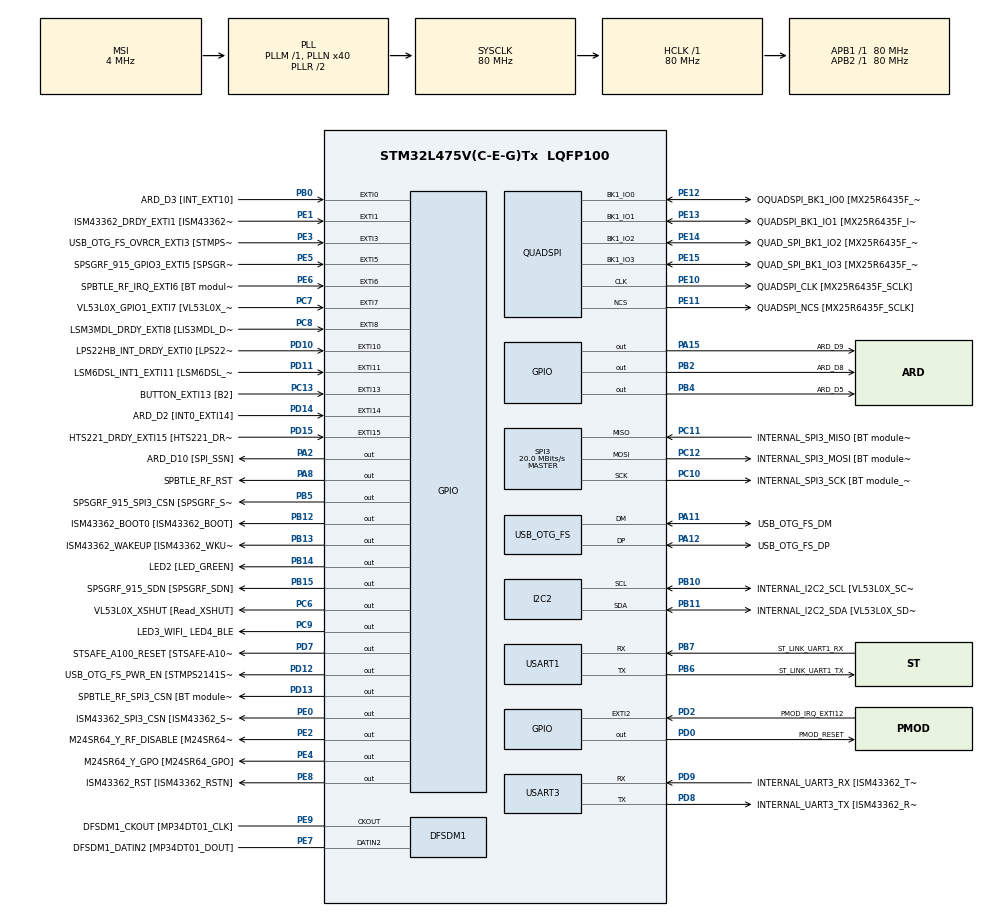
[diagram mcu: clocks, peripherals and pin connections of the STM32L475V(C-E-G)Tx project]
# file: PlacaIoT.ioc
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Mcu.Family=STM32L4
Mcu.Name=STM32L475V(C-E-G)Tx
Mcu.Package=LQFP100
NVIC.EXTI15_10_IRQn=true\:0\:0\:false\:false\:true\:true
NVIC.EXTI9_5_IRQn=true\:0\:0\:false\:false\:true\:true
NVIC.PriorityGroup=NVIC_PRIORITYGROUP_4
PA0.GPIO_Label=ARD_D1 [UART4_TX]
PA0.Signal=UART4_TX
PA1.GPIO_Label=ARD_D0 [UART4_RX]
PA1.Signal=UART4_RX
PA10.GPIO_Label=USB_OTG_FS_ID
PA10.Signal=USB_OTG_FS_ID
PA11.GPIO_Label=USB_OTG_FS_DM
PA11.Mode=Device_Only
PA11.Signal=USB_OTG_FS_DM
PA12.GPIO_Label=USB_OTG_FS_DP
PA12.Mode=Device_Only
PA12.Signal=USB_OTG_FS_DP
PA13\ (JTMS-SWDIO).GPIO_Label=SYS_JTMS_SWDIO
PA13\ (JTMS-SWDIO).Mode=Serial_Wire
PA13\ (JTMS-SWDIO).Signal=SYS_JTMS-SWDIO
PA14\ (JTCK-SWCLK).GPIO_Label=SYS_JTCK_SWCLK
PA14\ (JTCK-SWCLK).Mode=Serial_Wire
PA14\ (JTCK-SWCLK).Signal=SYS_JTCK-SWCLK
PA15\ (JTDI).GPIO_Label=ARD_D9
PA15\ (JTDI).Signal=GPIO_Output
PA2.GPIO_Label=ARD_D10 [SPI_SSN]
PA2.Signal=GPIO_Output
PA3.GPIO_Label=ARD_D4
PA3.Signal=S_TIM2_CH4
PA4.GPIO_Label=ARD_D7
PA4.Signal=ADCx_IN9
PA5.GPIO_Label=ARD_D13 [SPI1_SCK]
PA5.Signal=SPI1_SCK
PA6.GPIO_Label=ARD_D12 [SPI1_MISO]
PA6.Signal=SPI1_MISO
PA7.GPIO_Label=ARD_D11 [SPI1_MOSI]
PA7.Signal=SPI1_MOSI
PA8.GPIO_Label=SPBTLE_RF_RST
PA8.Signal=GPIO_Output
PA9.GPIO_Label=USB_OTG_FS_VBUS [STMPS2141STR_OUT]
PA9.Signal=USB_OTG_FS_VBUS
PB0.GPIO_Label=ARD_D3 [INT_EXT10]
PB0.Signal=GPXTI0
PB1.GPIO_Label=ARD_D6 [ADC1_IN6]
PB1.Signal=ADCx_IN16
PB10.GPIO_Label=INTERNAL_I2C2_SCL [VL53L0X_SCL]
PB10.Mode=I2C
PB10.Signal=I2C2_SCL
PB11.GPIO_Label=INTERNAL_I2C2_SDA [VL53L0X_SDA]
PB11.Mode=I2C
PB11.Signal=I2C2_SDA
PB12.GPIO_Label=ISM43362_BOOT0 [ISM43362_BOOT]
PB12.Signal=GPIO_Output
PB13.GPIO_Label=ISM43362_WAKEUP [ISM43362_WKUP]
PB13.Signal=GPIO_Output
PB14.GPIO_Label=LED2 [LED_GREEN]
PB14.Signal=GPIO_Output
PB15.GPIO_Label=SPSGRF_915_SDN [SPSGRF_SDN]
PB15.Signal=GPIO_Output
PB2.GPIO_Label=ARD_D8
PB2.Signal=GPIO_Output
PB3\ (JTDO-TRACESWO).GPIO_Label=SYS_JTD0_SWO
PB3\ (JTDO-TRACESWO).Signal=SYS_JTDO-SWO
PB4\ (NJTRST).GPIO_Label=ARD_D5
PB4\ (NJTRST).Signal=GPIO_Output
PB5.GPIO_Label=SPSGRF_915_SPI3_CSN [SPSGRF_SPI_CS]
PB5.Signal=GPIO_Output
PB6.GPIO_Label=ST_LINK_UART1_TX
PB6.Mode=Asynchronous
PB6.Signal=USART1_TX
PB7.GPIO_Label=ST_LINK_UART1_RX
PB7.Mode=Asynchronous
PB7.Signal=USART1_RX
PB8.GPIO_Label=ARD_D15 [I2C1_SCL]
PB8.Signal=I2C1_SCL
PB9.GPIO_Label=ARD_D14 [I2C1_SDA]
PB9.Signal=I2C1_SDA
PC0.GPIO_Label=ARD_A5 [ADC]
PC0.Signal=ADCx_IN1
PC1.GPIO_Label=ARD_A4 [ADC]
PC1.Signal=ADCx_IN2
PC10.GPIO_Label=INTERNAL_SPI3_SCK [BT module_SPI_SCLK]
PC10.Mode=Full_Duplex_Master
PC10.Signal=SPI3_SCK
PC11.GPIO_Label=INTERNAL_SPI3_MISO [BT module_SPI_MISO]
PC11.Mode=Full_Duplex_Master
PC11.Signal=SPI3_MISO
PC12.GPIO_Label=INTERNAL_SPI3_MOSI [BT module_SPI_MOSI]
PC12.Mode=Full_Duplex_Master
PC12.Signal=SPI3_MOSI
PC13.GPIO_Label=BUTTON_EXTI13 [B2]
PC13.GPIO_ModeDefaultEXTI=GPIO_MODE_IT_FALLING
PC13.Signal=GPXTI13
PC14-OSC32_IN\ (PC14).Mode=LSE-External-Oscillator
PC14-OSC32_IN\ (PC14).Signal=RCC_OSC32_IN
PC15-OSC32_OUT\ (PC15).Mode=LSE-External-Oscillator
PC15-OSC32_OUT\ (PC15).Signal=RCC_OSC32_OUT
PC2.GPIO_Label=ARD_A3 [ADC]
PC2.Signal=ADCx_IN3
PC3.GPIO_Label=ARD_A2 [ADC]
PC3.Signal=ADCx_IN4
PC4.GPIO_Label=ARD_A1 [ADC]
PC4.Signal=ADCx_IN13
PC5.GPIO_Label=ARD_A0 [ADC]
PC5.Signal=ADCx_IN14
PC6.GPIO_Label=VL53L0X_XSHUT [Read_XSHUT]
PC6.Signal=GPIO_Output
PC7.GPIO_Label=VL53L0X_GPIO1_EXTI7 [VL53L0X_GPIO1]
PC7.Signal=GPXTI7
PC8.GPIO_Label=LSM3MDL_DRDY_EXTI8 [LIS3MDL_DRDY]
PC8.Signal=GPXTI8
PC9.GPIO_Label=LED3_WIFI_ LED4_BLE
PC9.Signal=GPIO_Output
PD0.GPIO_Label=PMOD_RESET
PD0.Signal=GPIO_Output
PD1.GPIO_Label=PMOD_SPI2_SCK
PD1.Signal=SPI2_SCK
PD10.GPIO_Label=LPS22HB_INT_DRDY_EXTI0 [LPS22HB_INT_DRDY] 
PD10.Signal=GPXTI10
PD11.GPIO_Label=LSM6DSL_INT1_EXTI11 [LSM6DSL_INT1]
PD11.Signal=GPXTI11
PD12.GPIO_Label=USB_OTG_FS_PWR_EN [STMPS2141STR_EN]
PD12.Signal=GPIO_Output
PD13.GPIO_Label=SPBTLE_RF_SPI3_CSN [BT module_SPI_CS]
PD13.Signal=GPIO_Output
PD14.GPIO_Label=ARD_D2 [INT0_EXTI14]
PD14.Signal=GPXTI14
PD15.GPIO_Label=HTS221_DRDY_EXTI15 [HTS221_DRDY]
PD15.Signal=GPXTI15
PD2.GPIO_Label=PMOD_IRQ_EXTI12
PD2.Signal=GPXTI2
PD3.GPIO_Label=PMOD_UART2_CTS
PD3.Signal=USART2_CTS
PD4.GPIO_Label=PMOD_UART2_RTS
PD4.Signal=USART2_RTS
PD5.GPIO_Label=PMOD_UART2_TX
PD5.Signal=USART2_TX
PD6.GPIO_Label=PMOD_UART2_RX
PD6.Signal=USART2_RX
PD7.GPIO_Label=STSAFE_A100_RESET [STSAFE-A100_RESET]
PD7.Signal=GPIO_Output
PD8.GPIO_Label=INTERNAL_UART3_TX [ISM43362_RX]
PD8.Mode=Asynchronous
PD8.Signal=USART3_TX
PD9.GPIO_Label=INTERNAL_UART3_RX [ISM43362_TX]
PD9.Mode=Asynchronous
PD9.Signal=USART3_RX
PE0.GPIO_Label=ISM43362_SPI3_CSN [ISM43362_SSN]
PE0.Signal=GPIO_Output
PE1.GPIO_Label=ISM43362_DRDY_EXTI1 [ISM43362_DATARDY]
PE1.Signal=GPXTI1
PE10.GPIO_Label=QUADSPI_CLK [MX25R6435F_SCLK]
PE10.Mode=Single Bank
PE10.Signal=QUADSPI_CLK
PE11.GPIO_Label=QUADSPI_NCS [MX25R6435F_SCLK]
PE11.Mode=Single Bank
PE11.Signal=QUADSPI_NCS
PE12.GPIO_Label=OQUADSPI_BK1_IO0 [MX25R6435F_IO0]
PE12.Mode=Single Bank
PE12.Signal=QUADSPI_BK1_IO0
PE13.GPIO_Label=QUADSPI_BK1_IO1 [MX25R6435F_IO1]
PE13.Mode=Single Bank
PE13.Signal=QUADSPI_BK1_IO1
PE14.GPIO_Label=QUAD_SPI_BK1_IO2 [MX25R6435F_IO2]
PE14.Mode=Single Bank
PE14.Signal=QUADSPI_BK1_IO2
PE15.GPIO_Label=QUAD_SPI_BK1_IO3 [MX25R6435F_IO3]
PE15.Mode=Single Bank
PE15.Signal=QUADSPI_BK1_IO3
PE2.GPIO_Label=M24SR64_Y_RF_DISABLE [M24SR64_RFDIS]
PE2.Signal=GPIO_Output
PE3.GPIO_Label=USB_OTG_FS_OVRCR_EXTI3 [STMPS2141STR_FAULT]
PE3.Signal=GPXTI3
PE4.GPIO_Label=M24SR64_Y_GPO [M24SR64_GPO]
PE4.Signal=GPIO_Output
PE5.GPIO_Label=SPSGRF_915_GPIO3_EXTI5 [SPSGRF_GPIO_3]
PE5.Signal=GPXTI5
PE6.GPIO_Label=SPBTLE_RF_IRQ_EXTI6 [BT module_SPI_IRQ]
PE6.Signal=GPXTI6
PE7.GPIO_Label=DFSDM1_DATIN2 [MP34DT01_DOUT]
PE7.Signal=S_DATAIN2DFSDM1
PE8.GPIO_Label=ISM43362_RST [ISM43362_RSTN]
PE8.Signal=GPIO_Output
PE9.GPIO_Label=DFSDM1_CKOUT [MP34DT01_CLK]
PE9.Signal=S_CKOUTDFSDM1
ProjectManager.HeapSize=0x200
ProjectManager.StackSize=0x400
ProjectManager.TargetToolchain=TrueSTUDIO
RCC.ADCFreq_Value=48000000
RCC.AHBFreq_Value=80000000
RCC.APB1Freq_Value=80000000
RCC.APB1TimFreq_Value=80000000
RCC.APB2Freq_Value=80000000
RCC.APB2TimFreq_Value=80000000
RCC.CortexFreq_Value=80000000
RCC.HCLKFreq_Value=80000000
RCC.HSE_VALUE=8000000
RCC.HSI_VALUE=16000000
RCC.MSI_VALUE=4000000
RCC.PLLN=40
RCC.PLLSAI1N=24
RCC.SYSCLKFreq_VALUE=80000000
RCC.SYSCLKSource=RCC_SYSCLKSOURCE_PLLCLK
RCC.USBFreq_Value=48000000
RCC.VCOOutputFreq_Value=160000000
SH.ADCx_IN1.0=ADC1_IN1
SH.ADCx_IN13.0=ADC1_IN13
SH.ADCx_IN14.0=ADC1_IN14
SH.ADCx_IN16.0=ADC1_IN16
SH.ADCx_IN2.0=ADC1_IN2
SH.ADCx_IN3.0=ADC1_IN3
SH.ADCx_IN4.0=ADC1_IN4
SH.ADCx_IN9.0=ADC1_IN9
SH.S_CKOUTDFSDM1.0=DFSDM1_CKOUT,CKOUT
SH.S_CKOUTDFSDM1.1=DFSDM1_CKOUT,PDM_SPI_Input_from_ch12_and_Internal_Clock
SH.S_DATAIN2DFSDM1.0=DFSDM1_DATIN2,PDM_SPI_Input_from_ch12_and_Internal_Clock
SH.S_TIM2_CH4.0=TIM2_CH4
SPI3.BaudRatePrescaler=SPI_BAUDRATEPRESCALER_4
SPI3.CalculateBaudRate=20.0 MBits/s
SPI3.DataSize=SPI_DATASIZE_8BIT
SPI3.Direction=SPI_DIRECTION_2LINES
SPI3.Mode=SPI_MODE_MASTER
SPI3.VirtualType=VM_MASTER
USART1.VirtualMode-Asynchronous=VM_ASYNC
USART3.VirtualMode-Asynchronous=VM_ASYNC
USART3.WordLength=WORDLENGTH_8B
USB_OTG_FS.VirtualMode=Device_Only
board=B-L475E-IOT01A

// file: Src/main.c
/**
  ******************************************************************************
  * @file           : main.c
  * @brief          : Main program body
  ******************************************************************************
  ** This notice applies to any and all portions of this file
  * that are not between comment pairs USER CODE BEGIN and
  * USER CODE END. Other portions of this file, whether
  * inserted by the user or by software development tools
  * are owned by their respective copyright owners.
  *
  * COPYRIGHT(c) 2018 STMicroelectronics
  *
  * Redistribution and use in source and binary forms, with or without modification,
  * are permitted provided that the following conditions are met:
  *   1. Redistributions of source code must retain the above copyright notice,
  *      this list of conditions and the following disclaimer.
  *   2. Redistributions in binary form must reproduce the above copyright notice,
  *      this list of conditions and the following disclaimer in the documentation
  *      and/or other materials provided with the distribution.
  *   3. Neither the name of STMicroelectronics nor the names of its contributors
  *      may be used to endorse or promote products derived from this software
  *      without specific prior written permission.
  *
  * THIS SOFTWARE IS PROVIDED BY THE COPYRIGHT HOLDERS AND CONTRIBUTORS "AS IS"
  * AND ANY EXPRESS OR IMPLIED WARRANTIES, INCLUDING, BUT NOT LIMITED TO, THE
  * IMPLIED WARRANTIES OF MERCHANTABILITY AND FITNESS FOR A PARTICULAR PURPOSE ARE
  * DISCLAIMED. IN NO EVENT SHALL THE COPYRIGHT HOLDER OR CONTRIBUTORS BE LIABLE
  * FOR ANY DIRECT, INDIRECT, INCIDENTAL, SPECIAL, EXEMPLARY, OR CONSEQUENTIAL
  * DAMAGES (INCLUDING, BUT NOT LIMITED TO, PROCUREMENT OF SUBSTITUTE GOODS OR
  * SERVICES; LOSS OF USE, DATA, OR PROFITS; OR BUSINESS INTERRUPTION) HOWEVER
  * CAUSED AND ON ANY THEORY OF LIABILITY, WHETHER IN CONTRACT, STRICT LIABILITY,
  * OR TORT (INCLUDING NEGLIGENCE OR OTHERWISE) ARISING IN ANY WAY OUT OF THE USE
  * OF THIS SOFTWARE, EVEN IF ADVISED OF THE POSSIBILITY OF SUCH DAMAGE.
  *
  ******************************************************************************
  */
#include "main.h"
#include "stm32l4xx_hal.h"

/* USER CODE BEGIN Includes */
#include "vl53l0x_def.h"
#include "vl53l0x_api.h"
#include "vl53l0x_tof.h"
#include <stm32l475e_iot01.h>
#include <string.h>

/* USER CODE END Includes */

DFSDM_Channel_HandleTypeDef hdfsdm1_channel1;

I2C_HandleTypeDef hi2c2;

QSPI_HandleTypeDef hqspi;

SPI_HandleTypeDef hspi3;

UART_HandleTypeDef huart1;
UART_HandleTypeDef huart3;

PCD_HandleTypeDef hpcd_USB_OTG_FS;

/* USER CODE BEGIN PV */
/* Private variables ---------------------------------------------------------*/
extern I2C_HandleTypeDef hI2cHandler;
VL53L0X_Dev_t Dev =
{
  .I2cHandle = &hI2cHandler,
  .I2cDevAddr = PROXIMITY_I2C_ADDRESS
};
extern UART_HandleTypeDef hDiscoUart;
uint16_t medida;
uint16_t medidaPrv = 150;
uint8_t buff[50];

#ifdef __GNUC__
/* With GCC/RAISONANCE, small msg_info (option LD Linker->Libraries->Small msg_info
   set to 'Yes') calls __io_putchar() */
#define PUTCHAR_PROTOTYPE int __io_putchar(int ch)
#define GETCHAR_PROTOTYPE int __io_getchar(void)
#else
#define PUTCHAR_PROTOTYPE int fputc(int ch, FILE *f)
#define GETCHAR_PROTOTYPE int fgetc(FILE *f)
#endif /* __GNUC__ */

uint16_t medidaTotal;
uint16_t medidaReal;

/* USER CODE END PV */

void SystemClock_Config(void);
static void MX_GPIO_Init(void);
static void MX_DFSDM1_Init(void);
static void MX_I2C2_Init(void);
static void MX_QUADSPI_Init(void);
static void MX_SPI3_Init(void);
static void MX_USART1_UART_Init(void);
static void MX_USART3_UART_Init(void);
static void MX_USB_OTG_FS_PCD_Init(void);

/* USER CODE BEGIN PFP */
/* Private function prototypes -----------------------------------------------*/
static void VL53L0X_PROXIMITY_MspInit(void);
static uint16_t VL53L0X_PROXIMITY_GetDistance(void);
static void VL53L0X_PROXIMITY_Init(void);
extern void     SENSOR_IO_Init(void);
void Proximity_Test(void);

/* USER CODE END PFP */

int main(void)
{

  /* MCU Configuration----------------------------------------------------------*/

  /* Reset of all peripherals, Initializes the Flash interface and the Systick. */
  HAL_Init();

  /* Configure the system clock */
  SystemClock_Config();

  /* Initialize all configured peripherals */
  MX_GPIO_Init();
  MX_DFSDM1_Init();
  MX_I2C2_Init();
  MX_QUADSPI_Init();
  MX_SPI3_Init();
  MX_USART1_UART_Init();
  MX_USART3_UART_Init();
  MX_USB_OTG_FS_PCD_Init();
  /* USER CODE BEGIN 2 */
  VL53L0X_PROXIMITY_Init();
  /* USER CODE END 2 */

  /* Infinite loop */
  while (1)
  {

  /* USER CODE BEGIN 3 */
	  medidaTotal = 0;
	  for (int i = 0; i < 20; ++i)
	  {
		  HAL_Delay(5);
		  medida = VL53L0X_PROXIMITY_GetDistance();
		  if(medida > 2500) medida = medidaPrv;
		  else medidaPrv = medida;

		  medidaTotal += medida;
	  }
	  medidaReal = medidaTotal/20;
	  printf("La medida es %i \n\r",medidaReal);
	  //	  HAL_UART_Transmit(&huart1,pBuff,strlen(buff),50);
	  //	  HAL_Delay(20);

  }
  /* USER CODE END 3 */

}

void SystemClock_Config(void)
{

  RCC_OscInitTypeDef RCC_OscInitStruct;
  RCC_ClkInitTypeDef RCC_ClkInitStruct;
  RCC_PeriphCLKInitTypeDef PeriphClkInit;

    /**Configure LSE Drive Capability
    */
  HAL_PWR_EnableBkUpAccess();

  __HAL_RCC_LSEDRIVE_CONFIG(RCC_LSEDRIVE_LOW);

    /**Initializes the CPU, AHB and APB busses clocks
    */
  RCC_OscInitStruct.OscillatorType = RCC_OSCILLATORTYPE_LSE|RCC_OSCILLATORTYPE_MSI;
  RCC_OscInitStruct.LSEState = RCC_LSE_ON;
  RCC_OscInitStruct.MSIState = RCC_MSI_ON;
  RCC_OscInitStruct.MSICalibrationValue = 0;
  RCC_OscInitStruct.MSIClockRange = RCC_MSIRANGE_6;
  RCC_OscInitStruct.PLL.PLLState = RCC_PLL_ON;
  RCC_OscInitStruct.PLL.PLLSource = RCC_PLLSOURCE_MSI;
  RCC_OscInitStruct.PLL.PLLM = 1;
  RCC_OscInitStruct.PLL.PLLN = 40;
  RCC_OscInitStruct.PLL.PLLP = RCC_PLLP_DIV7;
  RCC_OscInitStruct.PLL.PLLQ = RCC_PLLQ_DIV2;
  RCC_OscInitStruct.PLL.PLLR = RCC_PLLR_DIV2;
  if (HAL_RCC_OscConfig(&RCC_OscInitStruct) != HAL_OK)
  {
    _Error_Handler(__FILE__, __LINE__);
  }

    /**Initializes the CPU, AHB and APB busses clocks
    */
  RCC_ClkInitStruct.ClockType = RCC_CLOCKTYPE_HCLK|RCC_CLOCKTYPE_SYSCLK
                              |RCC_CLOCKTYPE_PCLK1|RCC_CLOCKTYPE_PCLK2;
  RCC_ClkInitStruct.SYSCLKSource = RCC_SYSCLKSOURCE_PLLCLK;
  RCC_ClkInitStruct.AHBCLKDivider = RCC_SYSCLK_DIV1;
  RCC_ClkInitStruct.APB1CLKDivider = RCC_HCLK_DIV1;
  RCC_ClkInitStruct.APB2CLKDivider = RCC_HCLK_DIV1;

  if (HAL_RCC_ClockConfig(&RCC_ClkInitStruct, FLASH_LATENCY_4) != HAL_OK)
  {
    _Error_Handler(__FILE__, __LINE__);
  }

  PeriphClkInit.PeriphClockSelection = RCC_PERIPHCLK_USART1|RCC_PERIPHCLK_USART3
                              |RCC_PERIPHCLK_I2C2|RCC_PERIPHCLK_DFSDM1
                              |RCC_PERIPHCLK_USB;
  PeriphClkInit.Usart1ClockSelection = RCC_USART1CLKSOURCE_PCLK2;
  PeriphClkInit.Usart3ClockSelection = RCC_USART3CLKSOURCE_PCLK1;
  PeriphClkInit.I2c2ClockSelection = RCC_I2C2CLKSOURCE_PCLK1;
  PeriphClkInit.Dfsdm1ClockSelection = RCC_DFSDM1CLKSOURCE_PCLK;
  PeriphClkInit.UsbClockSelection = RCC_USBCLKSOURCE_PLLSAI1;
  PeriphClkInit.PLLSAI1.PLLSAI1Source = RCC_PLLSOURCE_MSI;
  PeriphClkInit.PLLSAI1.PLLSAI1M = 1;
  PeriphClkInit.PLLSAI1.PLLSAI1N = 24;
  PeriphClkInit.PLLSAI1.PLLSAI1P = RCC_PLLP_DIV7;
  PeriphClkInit.PLLSAI1.PLLSAI1Q = RCC_PLLQ_DIV2;
  PeriphClkInit.PLLSAI1.PLLSAI1R = RCC_PLLR_DIV2;
  PeriphClkInit.PLLSAI1.PLLSAI1ClockOut = RCC_PLLSAI1_48M2CLK;
  if (HAL_RCCEx_PeriphCLKConfig(&PeriphClkInit) != HAL_OK)
  {
    _Error_Handler(__FILE__, __LINE__);
  }

    /**Configure the main internal regulator output voltage
    */
  if (HAL_PWREx_ControlVoltageScaling(PWR_REGULATOR_VOLTAGE_SCALE1) != HAL_OK)
  {
    _Error_Handler(__FILE__, __LINE__);
  }

    /**Configure the Systick interrupt time
    */
  HAL_SYSTICK_Config(HAL_RCC_GetHCLKFreq()/1000);

    /**Configure the Systick
    */
  HAL_SYSTICK_CLKSourceConfig(SYSTICK_CLKSOURCE_HCLK);

    /**Enable MSI Auto calibration
    */
  HAL_RCCEx_EnableMSIPLLMode();

  /* SysTick_IRQn interrupt configuration */
  HAL_NVIC_SetPriority(SysTick_IRQn, 0, 0);
}

/* DFSDM1 init function */
static void MX_DFSDM1_Init(void)
{

  hdfsdm1_channel1.Instance = DFSDM1_Channel1;
  hdfsdm1_channel1.Init.OutputClock.Activation = ENABLE;
  hdfsdm1_channel1.Init.OutputClock.Selection = DFSDM_CHANNEL_OUTPUT_CLOCK_SYSTEM;
  hdfsdm1_channel1.Init.OutputClock.Divider = 2;
  hdfsdm1_channel1.Init.Input.Multiplexer = DFSDM_CHANNEL_EXTERNAL_INPUTS;
  hdfsdm1_channel1.Init.Input.DataPacking = DFSDM_CHANNEL_STANDARD_MODE;
  hdfsdm1_channel1.Init.Input.Pins = DFSDM_CHANNEL_FOLLOWING_CHANNEL_PINS;
  hdfsdm1_channel1.Init.SerialInterface.Type = DFSDM_CHANNEL_SPI_RISING;
  hdfsdm1_channel1.Init.SerialInterface.SpiClock = DFSDM_CHANNEL_SPI_CLOCK_INTERNAL;
  hdfsdm1_channel1.Init.Awd.FilterOrder = DFSDM_CHANNEL_FASTSINC_ORDER;
  hdfsdm1_channel1.Init.Awd.Oversampling = 1;
  hdfsdm1_channel1.Init.Offset = 0;
  hdfsdm1_channel1.Init.RightBitShift = 0x00;
  if (HAL_DFSDM_ChannelInit(&hdfsdm1_channel1) != HAL_OK)
  {
    _Error_Handler(__FILE__, __LINE__);
  }

}

/* I2C2 init function */
static void MX_I2C2_Init(void)
{

  hi2c2.Instance = I2C2;
  hi2c2.Init.Timing = 0x10909CEC;
  hi2c2.Init.OwnAddress1 = 0;
  hi2c2.Init.AddressingMode = I2C_ADDRESSINGMODE_7BIT;
  hi2c2.Init.DualAddressMode = I2C_DUALADDRESS_DISABLE;
  hi2c2.Init.OwnAddress2 = 0;
  hi2c2.Init.OwnAddress2Masks = I2C_OA2_NOMASK;
  hi2c2.Init.GeneralCallMode = I2C_GENERALCALL_DISABLE;
  hi2c2.Init.NoStretchMode = I2C_NOSTRETCH_DISABLE;
  if (HAL_I2C_Init(&hi2c2) != HAL_OK)
  {
    _Error_Handler(__FILE__, __LINE__);
  }

    /**Configure Analogue filter
    */
  if (HAL_I2CEx_ConfigAnalogFilter(&hi2c2, I2C_ANALOGFILTER_ENABLE) != HAL_OK)
  {
    _Error_Handler(__FILE__, __LINE__);
  }

    /**Configure Digital filter
    */
  if (HAL_I2CEx_ConfigDigitalFilter(&hi2c2, 0) != HAL_OK)
  {
    _Error_Handler(__FILE__, __LINE__);
  }

}

/* QUADSPI init function */
static void MX_QUADSPI_Init(void)
{

  /* QUADSPI parameter configuration*/
  hqspi.Instance = QUADSPI;
  hqspi.Init.ClockPrescaler = 255;
  hqspi.Init.FifoThreshold = 1;
  hqspi.Init.SampleShifting = QSPI_SAMPLE_SHIFTING_NONE;
  hqspi.Init.FlashSize = 1;
  hqspi.Init.ChipSelectHighTime = QSPI_CS_HIGH_TIME_1_CYCLE;
  hqspi.Init.ClockMode = QSPI_CLOCK_MODE_0;
  if (HAL_QSPI_Init(&hqspi) != HAL_OK)
  {
    _Error_Handler(__FILE__, __LINE__);
  }

}

/* SPI3 init function */
static void MX_SPI3_Init(void)
{

  /* SPI3 parameter configuration*/
  hspi3.Instance = SPI3;
  hspi3.Init.Mode = SPI_MODE_MASTER;
  hspi3.Init.Direction = SPI_DIRECTION_2LINES;
  hspi3.Init.DataSize = SPI_DATASIZE_8BIT;
  hspi3.Init.CLKPolarity = SPI_POLARITY_LOW;
  hspi3.Init.CLKPhase = SPI_PHASE_1EDGE;
  hspi3.Init.NSS = SPI_NSS_SOFT;
  hspi3.Init.BaudRatePrescaler = SPI_BAUDRATEPRESCALER_4;
  hspi3.Init.FirstBit = SPI_FIRSTBIT_MSB;
  hspi3.Init.TIMode = SPI_TIMODE_DISABLE;
  hspi3.Init.CRCCalculation = SPI_CRCCALCULATION_DISABLE;
  hspi3.Init.CRCPolynomial = 7;
  hspi3.Init.CRCLength = SPI_CRC_LENGTH_DATASIZE;
  hspi3.Init.NSSPMode = SPI_NSS_PULSE_ENABLE;
  if (HAL_SPI_Init(&hspi3) != HAL_OK)
  {
    _Error_Handler(__FILE__, __LINE__);
  }

}

/* USART1 init function */
static void MX_USART1_UART_Init(void)
{

  huart1.Instance = USART1;
  huart1.Init.BaudRate = 115200;
  huart1.Init.WordLength = UART_WORDLENGTH_7B;
  huart1.Init.StopBits = UART_STOPBITS_1;
  huart1.Init.Parity = UART_PARITY_NONE;
  huart1.Init.Mode = UART_MODE_TX_RX;
  huart1.Init.HwFlowCtl = UART_HWCONTROL_NONE;
  huart1.Init.OverSampling = UART_OVERSAMPLING_16;
  huart1.Init.OneBitSampling = UART_ONE_BIT_SAMPLE_DISABLE;
  huart1.AdvancedInit.AdvFeatureInit = UART_ADVFEATURE_NO_INIT;
  if (HAL_UART_Init(&huart1) != HAL_OK)
  {
    _Error_Handler(__FILE__, __LINE__);
  }

}

/* USART3 init function */
static void MX_USART3_UART_Init(void)
{

  huart3.Instance = USART3;
  huart3.Init.BaudRate = 115200;
  huart3.Init.WordLength = UART_WORDLENGTH_8B;
  huart3.Init.StopBits = UART_STOPBITS_1;
  huart3.Init.Parity = UART_PARITY_NONE;
  huart3.Init.Mode = UART_MODE_TX_RX;
  huart3.Init.HwFlowCtl = UART_HWCONTROL_NONE;
  huart3.Init.OverSampling = UART_OVERSAMPLING_16;
  huart3.Init.OneBitSampling = UART_ONE_BIT_SAMPLE_DISABLE;
  huart3.AdvancedInit.AdvFeatureInit = UART_ADVFEATURE_NO_INIT;
  if (HAL_UART_Init(&huart3) != HAL_OK)
  {
    _Error_Handler(__FILE__, __LINE__);
  }

}

/* USB_OTG_FS init function */
static void MX_USB_OTG_FS_PCD_Init(void)
{

  hpcd_USB_OTG_FS.Instance = USB_OTG_FS;
  hpcd_USB_OTG_FS.Init.dev_endpoints = 6;
  hpcd_USB_OTG_FS.Init.speed = PCD_SPEED_FULL;
  hpcd_USB_OTG_FS.Init.ep0_mps = DEP0CTL_MPS_64;
  hpcd_USB_OTG_FS.Init.phy_itface = PCD_PHY_EMBEDDED;
  hpcd_USB_OTG_FS.Init.Sof_enable = DISABLE;
  hpcd_USB_OTG_FS.Init.low_power_enable = DISABLE;
  hpcd_USB_OTG_FS.Init.lpm_enable = DISABLE;
  hpcd_USB_OTG_FS.Init.battery_charging_enable = DISABLE;
  hpcd_USB_OTG_FS.Init.use_dedicated_ep1 = DISABLE;
  hpcd_USB_OTG_FS.Init.vbus_sensing_enable = DISABLE;
  if (HAL_PCD_Init(&hpcd_USB_OTG_FS) != HAL_OK)
  {
    _Error_Handler(__FILE__, __LINE__);
  }

}

/** Configure pins as
        * Analog
        * Input
        * Output
        * EVENT_OUT
        * EXTI
     PC0   ------> ADCx_IN1
     PC1   ------> ADCx_IN2
     PC2   ------> ADCx_IN3
     PC3   ------> ADCx_IN4
     PA0   ------> UART4_TX
     PA1   ------> UART4_RX
     PA3   ------> S_TIM2_CH4
     PA4   ------> ADCx_IN9
     PA5   ------> SPI1_SCK
     PA6   ------> SPI1_MISO
     PA7   ------> SPI1_MOSI
     PC4   ------> ADCx_IN13
     PC5   ------> ADCx_IN14
     PB1   ------> ADCx_IN16
     PD1   ------> SPI2_SCK
     PD3   ------> USART2_CTS
     PD4   ------> USART2_RTS
     PD5   ------> USART2_TX
     PD6   ------> USART2_RX
     PB8   ------> I2C1_SCL
     PB9   ------> I2C1_SDA
*/
static void MX_GPIO_Init(void)
{

  GPIO_InitTypeDef GPIO_InitStruct;

  /* GPIO Ports Clock Enable */
  __HAL_RCC_GPIOE_CLK_ENABLE();
  __HAL_RCC_GPIOC_CLK_ENABLE();
  __HAL_RCC_GPIOA_CLK_ENABLE();
  __HAL_RCC_GPIOB_CLK_ENABLE();
  __HAL_RCC_GPIOD_CLK_ENABLE();

  /*Configure GPIO pin Output Level */
  HAL_GPIO_WritePin(GPIOE, M24SR64_Y_RF_DISABLE_Pin|M24SR64_Y_GPO_Pin|ISM43362_RST_Pin|ISM43362_SPI3_CSN_Pin, GPIO_PIN_RESET);

  /*Configure GPIO pin Output Level */
  HAL_GPIO_WritePin(GPIOA, ARD_D10_Pin|SPBTLE_RF_RST_Pin|ARD_D9_Pin, GPIO_PIN_RESET);

  /*Configure GPIO pin Output Level */
  HAL_GPIO_WritePin(GPIOB, ARD_D8_Pin|ISM43362_BOOT0_Pin|ISM43362_WAKEUP_Pin|LED2_Pin
                          |SPSGRF_915_SDN_Pin|ARD_D5_Pin|SPSGRF_915_SPI3_CSN_Pin, GPIO_PIN_RESET);

  /*Configure GPIO pin Output Level */
  HAL_GPIO_WritePin(GPIOD, USB_OTG_FS_PWR_EN_Pin|SPBTLE_RF_SPI3_CSN_Pin|PMOD_RESET_Pin|STSAFE_A100_RESET_Pin, GPIO_PIN_RESET);

  /*Configure GPIO pin Output Level */
  HAL_GPIO_WritePin(GPIOC, VL53L0X_XSHUT_Pin|LED3_WIFI__LED4_BLE_Pin, GPIO_PIN_RESET);

  /*Configure GPIO pins : M24SR64_Y_RF_DISABLE_Pin M24SR64_Y_GPO_Pin ISM43362_RST_Pin ISM43362_SPI3_CSN_Pin */
  GPIO_InitStruct.Pin = M24SR64_Y_RF_DISABLE_Pin|M24SR64_Y_GPO_Pin|ISM43362_RST_Pin|ISM43362_SPI3_CSN_Pin;
  GPIO_InitStruct.Mode = GPIO_MODE_OUTPUT_PP;
  GPIO_InitStruct.Pull = GPIO_NOPULL;
  GPIO_InitStruct.Speed = GPIO_SPEED_FREQ_LOW;
  HAL_GPIO_Init(GPIOE, &GPIO_InitStruct);

  /*Configure GPIO pins : USB_OTG_FS_OVRCR_EXTI3_Pin SPSGRF_915_GPIO3_EXTI5_Pin SPBTLE_RF_IRQ_EXTI6_Pin ISM43362_DRDY_EXTI1_Pin */
  GPIO_InitStruct.Pin = USB_OTG_FS_OVRCR_EXTI3_Pin|SPSGRF_915_GPIO3_EXTI5_Pin|SPBTLE_RF_IRQ_EXTI6_Pin|ISM43362_DRDY_EXTI1_Pin;
  GPIO_InitStruct.Mode = GPIO_MODE_IT_RISING;
  GPIO_InitStruct.Pull = GPIO_NOPULL;
  HAL_GPIO_Init(GPIOE, &GPIO_InitStruct);

  /*Configure GPIO pin : BUTTON_EXTI13_Pin */
  GPIO_InitStruct.Pin = BUTTON_EXTI13_Pin;
  GPIO_InitStruct.Mode = GPIO_MODE_IT_FALLING;
  GPIO_InitStruct.Pull = GPIO_NOPULL;
  HAL_GPIO_Init(BUTTON_EXTI13_GPIO_Port, &GPIO_InitStruct);

  /*Configure GPIO pins : ARD_A5_Pin ARD_A4_Pin ARD_A3_Pin ARD_A2_Pin
                           ARD_A1_Pin ARD_A0_Pin */
  GPIO_InitStruct.Pin = ARD_A5_Pin|ARD_A4_Pin|ARD_A3_Pin|ARD_A2_Pin
                          |ARD_A1_Pin|ARD_A0_Pin;
  GPIO_InitStruct.Mode = GPIO_MODE_ANALOG_ADC_CONTROL;
  GPIO_InitStruct.Pull = GPIO_NOPULL;
  HAL_GPIO_Init(GPIOC, &GPIO_InitStruct);

  /*Configure GPIO pins : ARD_D1_Pin ARD_D0_Pin */
  GPIO_InitStruct.Pin = ARD_D1_Pin|ARD_D0_Pin;
  GPIO_InitStruct.Mode = GPIO_MODE_AF_PP;
  GPIO_InitStruct.Pull = GPIO_NOPULL;
  GPIO_InitStruct.Speed = GPIO_SPEED_FREQ_VERY_HIGH;
  GPIO_InitStruct.Alternate = GPIO_AF8_UART4;
  HAL_GPIO_Init(GPIOA, &GPIO_InitStruct);

  /*Configure GPIO pins : ARD_D10_Pin SPBTLE_RF_RST_Pin ARD_D9_Pin */
  GPIO_InitStruct.Pin = ARD_D10_Pin|SPBTLE_RF_RST_Pin|ARD_D9_Pin;
  GPIO_InitStruct.Mode = GPIO_MODE_OUTPUT_PP;
  GPIO_InitStruct.Pull = GPIO_NOPULL;
  GPIO_InitStruct.Speed = GPIO_SPEED_FREQ_LOW;
  HAL_GPIO_Init(GPIOA, &GPIO_InitStruct);

  /*Configure GPIO pin : ARD_D4_Pin */
  GPIO_InitStruct.Pin = ARD_D4_Pin;
  GPIO_InitStruct.Mode = GPIO_MODE_AF_PP;
  GPIO_InitStruct.Pull = GPIO_NOPULL;
  GPIO_InitStruct.Speed = GPIO_SPEED_FREQ_LOW;
  GPIO_InitStruct.Alternate = GPIO_AF1_TIM2;
  HAL_GPIO_Init(ARD_D4_GPIO_Port, &GPIO_InitStruct);

  /*Configure GPIO pin : ARD_D7_Pin */
  GPIO_InitStruct.Pin = ARD_D7_Pin;
  GPIO_InitStruct.Mode = GPIO_MODE_ANALOG_ADC_CONTROL;
  GPIO_InitStruct.Pull = GPIO_NOPULL;
  HAL_GPIO_Init(ARD_D7_GPIO_Port, &GPIO_InitStruct);

  /*Configure GPIO pins : ARD_D13_Pin ARD_D12_Pin ARD_D11_Pin */
  GPIO_InitStruct.Pin = ARD_D13_Pin|ARD_D12_Pin|ARD_D11_Pin;
  GPIO_InitStruct.Mode = GPIO_MODE_AF_PP;
  GPIO_InitStruct.Pull = GPIO_NOPULL;
  GPIO_InitStruct.Speed = GPIO_SPEED_FREQ_VERY_HIGH;
  GPIO_InitStruct.Alternate = GPIO_AF5_SPI1;
  HAL_GPIO_Init(GPIOA, &GPIO_InitStruct);

  /*Configure GPIO pin : ARD_D3_Pin */
  GPIO_InitStruct.Pin = ARD_D3_Pin;
  GPIO_InitStruct.Mode = GPIO_MODE_IT_RISING;
  GPIO_InitStruct.Pull = GPIO_NOPULL;
  HAL_GPIO_Init(ARD_D3_GPIO_Port, &GPIO_InitStruct);

  /*Configure GPIO pin : ARD_D6_Pin */
  GPIO_InitStruct.Pin = ARD_D6_Pin;
  GPIO_InitStruct.Mode = GPIO_MODE_ANALOG_ADC_CONTROL;
  GPIO_InitStruct.Pull = GPIO_NOPULL;
  HAL_GPIO_Init(ARD_D6_GPIO_Port, &GPIO_InitStruct);

  /*Configure GPIO pins : ARD_D8_Pin ISM43362_BOOT0_Pin ISM43362_WAKEUP_Pin LED2_Pin
                           SPSGRF_915_SDN_Pin ARD_D5_Pin SPSGRF_915_SPI3_CSN_Pin */
  GPIO_InitStruct.Pin = ARD_D8_Pin|ISM43362_BOOT0_Pin|ISM43362_WAKEUP_Pin|LED2_Pin
                          |SPSGRF_915_SDN_Pin|ARD_D5_Pin|SPSGRF_915_SPI3_CSN_Pin;
  GPIO_InitStruct.Mode = GPIO_MODE_OUTPUT_PP;
  GPIO_InitStruct.Pull = GPIO_NOPULL;
  GPIO_InitStruct.Speed = GPIO_SPEED_FREQ_LOW;
  HAL_GPIO_Init(GPIOB, &GPIO_InitStruct);

  /*Configure GPIO pins : LPS22HB_INT_DRDY_EXTI0_Pin LSM6DSL_INT1_EXTI11_Pin ARD_D2_Pin HTS221_DRDY_EXTI15_Pin
                           PMOD_IRQ_EXTI12_Pin */
  GPIO_InitStruct.Pin = LPS22HB_INT_DRDY_EXTI0_Pin|LSM6DSL_INT1_EXTI11_Pin|ARD_D2_Pin|HTS221_DRDY_EXTI15_Pin
                          |PMOD_IRQ_EXTI12_Pin;
  GPIO_InitStruct.Mode = GPIO_MODE_IT_RISING;
  GPIO_InitStruct.Pull = GPIO_NOPULL;
  HAL_GPIO_Init(GPIOD, &GPIO_InitStruct);

  /*Configure GPIO pins : USB_OTG_FS_PWR_EN_Pin SPBTLE_RF_SPI3_CSN_Pin PMOD_RESET_Pin STSAFE_A100_RESET_Pin */
  GPIO_InitStruct.Pin = USB_OTG_FS_PWR_EN_Pin|SPBTLE_RF_SPI3_CSN_Pin|PMOD_RESET_Pin|STSAFE_A100_RESET_Pin;
  GPIO_InitStruct.Mode = GPIO_MODE_OUTPUT_PP;
  GPIO_InitStruct.Pull = GPIO_NOPULL;
  GPIO_InitStruct.Speed = GPIO_SPEED_FREQ_LOW;
  HAL_GPIO_Init(GPIOD, &GPIO_InitStruct);

  /*Configure GPIO pins : VL53L0X_XSHUT_Pin LED3_WIFI__LED4_BLE_Pin */
  GPIO_InitStruct.Pin = VL53L0X_XSHUT_Pin|LED3_WIFI__LED4_BLE_Pin;
  GPIO_InitStruct.Mode = GPIO_MODE_OUTPUT_PP;
  GPIO_InitStruct.Pull = GPIO_NOPULL;
  GPIO_InitStruct.Speed = GPIO_SPEED_FREQ_LOW;
  HAL_GPIO_Init(GPIOC, &GPIO_InitStruct);

  /*Configure GPIO pins : VL53L0X_GPIO1_EXTI7_Pin LSM3MDL_DRDY_EXTI8_Pin */
  GPIO_InitStruct.Pin = VL53L0X_GPIO1_EXTI7_Pin|LSM3MDL_DRDY_EXTI8_Pin;
  GPIO_InitStruct.Mode = GPIO_MODE_IT_RISING;
  GPIO_InitStruct.Pull = GPIO_NOPULL;
  HAL_GPIO_Init(GPIOC, &GPIO_InitStruct);

  /*Configure GPIO pin : PMOD_SPI2_SCK_Pin */
  GPIO_InitStruct.Pin = PMOD_SPI2_SCK_Pin;
  GPIO_InitStruct.Mode = GPIO_MODE_AF_PP;
  GPIO_InitStruct.Pull = GPIO_NOPULL;
  GPIO_InitStruct.Speed = GPIO_SPEED_FREQ_VERY_HIGH;
  GPIO_InitStruct.Alternate = GPIO_AF5_SPI2;
  HAL_GPIO_Init(PMOD_SPI2_SCK_GPIO_Port, &GPIO_InitStruct);

  /*Configure GPIO pins : PMOD_UART2_CTS_Pin PMOD_UART2_RTS_Pin PMOD_UART2_TX_Pin PMOD_UART2_RX_Pin */
  GPIO_InitStruct.Pin = PMOD_UART2_CTS_Pin|PMOD_UART2_RTS_Pin|PMOD_UART2_TX_Pin|PMOD_UART2_RX_Pin;
  GPIO_InitStruct.Mode = GPIO_MODE_AF_PP;
  GPIO_InitStruct.Pull = GPIO_NOPULL;
  GPIO_InitStruct.Speed = GPIO_SPEED_FREQ_VERY_HIGH;
  GPIO_InitStruct.Alternate = GPIO_AF7_USART2;
  HAL_GPIO_Init(GPIOD, &GPIO_InitStruct);

  /*Configure GPIO pins : ARD_D15_Pin ARD_D14_Pin */
  GPIO_InitStruct.Pin = ARD_D15_Pin|ARD_D14_Pin;
  GPIO_InitStruct.Mode = GPIO_MODE_AF_OD;
  GPIO_InitStruct.Pull = GPIO_PULLUP;
  GPIO_InitStruct.Speed = GPIO_SPEED_FREQ_VERY_HIGH;
  GPIO_InitStruct.Alternate = GPIO_AF4_I2C1;
  HAL_GPIO_Init(GPIOB, &GPIO_InitStruct);

  /* EXTI interrupt init*/
  HAL_NVIC_SetPriority(EXTI9_5_IRQn, 0, 0);
  HAL_NVIC_EnableIRQ(EXTI9_5_IRQn);

  HAL_NVIC_SetPriority(EXTI15_10_IRQn, 0, 0);
  HAL_NVIC_EnableIRQ(EXTI15_10_IRQn);

}

void _Error_Handler(char *file, int line)
{
  while(1)
  {
  }
}

/************************ (C) COPYRIGHT STMicroelectronics *****END OF FILE****/
